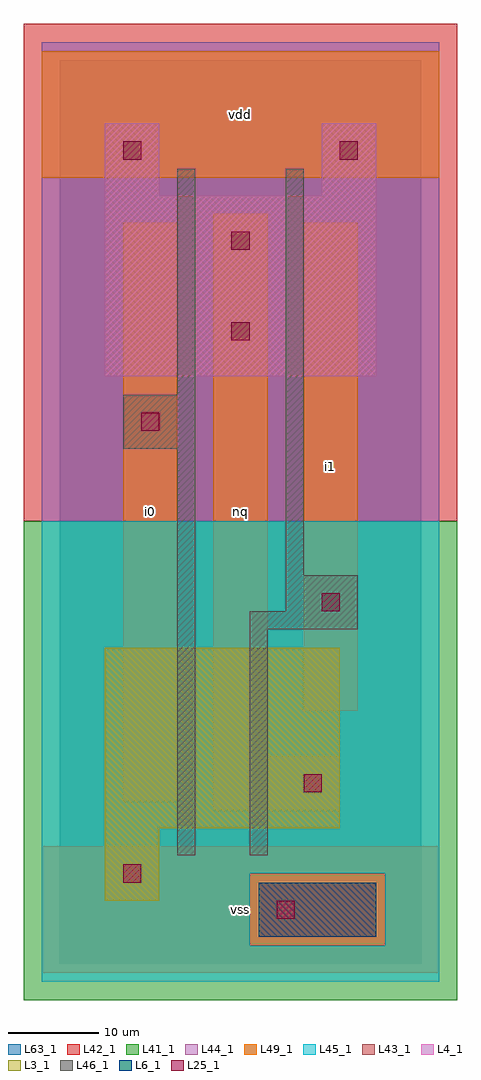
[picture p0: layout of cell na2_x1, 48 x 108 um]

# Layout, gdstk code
import gdstk
lib = gdstk.Library(unit=1e-6, precision=1e-09)
def R(c, l, rs):  # rectangles x0, y0, x1, y1
    for r in rs: c.add(gdstk.rectangle(r[:2], r[2:], *l))
L3_1 = (3, 1)
L4_1 = (4, 1)
L6_1 = (6, 1)
L25_1 = (25, 1)
L41_1 = (41, 1)
L42_1 = (42, 1)
L43_1 = (43, 1)
L44_1 = (44, 1)
L45_1 = (45, 1)
L46_1 = (46, 1)
L49_1 = (49, 1)
L63_1 = (63, 1)

na2_x1 = lib.new_cell('na2_x1')
R(na2_x1, L3_1, [(5,7,11,15), (5,15,31,35)])
R(na2_x1, L4_1, [(5,65,35,85), (5,85,11,93), (29,85,35,93)])
R(na2_x1, L6_1, [(22,3,35,9)])
R(na2_x1, L25_1, [(24,5,26,7), (7,9,9,11), (27,19,29,21), (29,39,31,41), (9,59,11,61), (19,69,21,71), (19,79,21,81), (7,89,9,91), (31,89,33,91)])
R(na2_x1, L41_1, [(-4,-4,44,49)])
R(na2_x1, L42_1, [(-4,49,44,104)])
R(na2_x1, L43_1, [(22,3,35,9), (5,7,11,15), (5,15,31,35), (5,65,35,85), (5,85,11,93), (29,85,35,93)])
R(na2_x1, L44_1, [(21,2,36,10), (-2,49,42,102)])
R(na2_x1, L45_1, [(-2,-2,42,2), (-2,2,21,10), (36,2,42,10), (-2,10,42,49)])
R(na2_x1, L46_1, [(13,12,15,57), (21,12,23,37), (21,37,33,39), (25,39,33,43), (25,43,27,88), (7,57,15,63), (13,63,15,88)])
R(na2_x1, L49_1, [(-2,-1,42,13), (17,17,31,23), (7,18,13,82), (17,23,23,83), (27,28,33,82), (-2,87,42,101)])
R(na2_x1, L63_1, [(0,0,40,100)])
na2_x1.add(gdstk.Label('i0', (10,50), layer=49, texttype=1))
na2_x1.add(gdstk.Label('i0', (10,50), layer=49, texttype=1))
na2_x1.add(gdstk.Label('vss', (20,6), layer=49, texttype=1))
na2_x1.add(gdstk.Label('vss', (20,6), layer=49, texttype=1))
na2_x1.add(gdstk.Label('nq', (20,50), layer=49, texttype=1))
na2_x1.add(gdstk.Label('nq', (20,50), layer=49, texttype=1))
na2_x1.add(gdstk.Label('i1', (30,55), layer=49, texttype=1))
na2_x1.add(gdstk.Label('i1', (30,55), layer=49, texttype=1))
na2_x1.add(gdstk.Label('vdd', (20,94), layer=49, texttype=1))
na2_x1.add(gdstk.Label('vdd', (20,94), layer=49, texttype=1))

lib.write_gds('na2_x1.gds')
